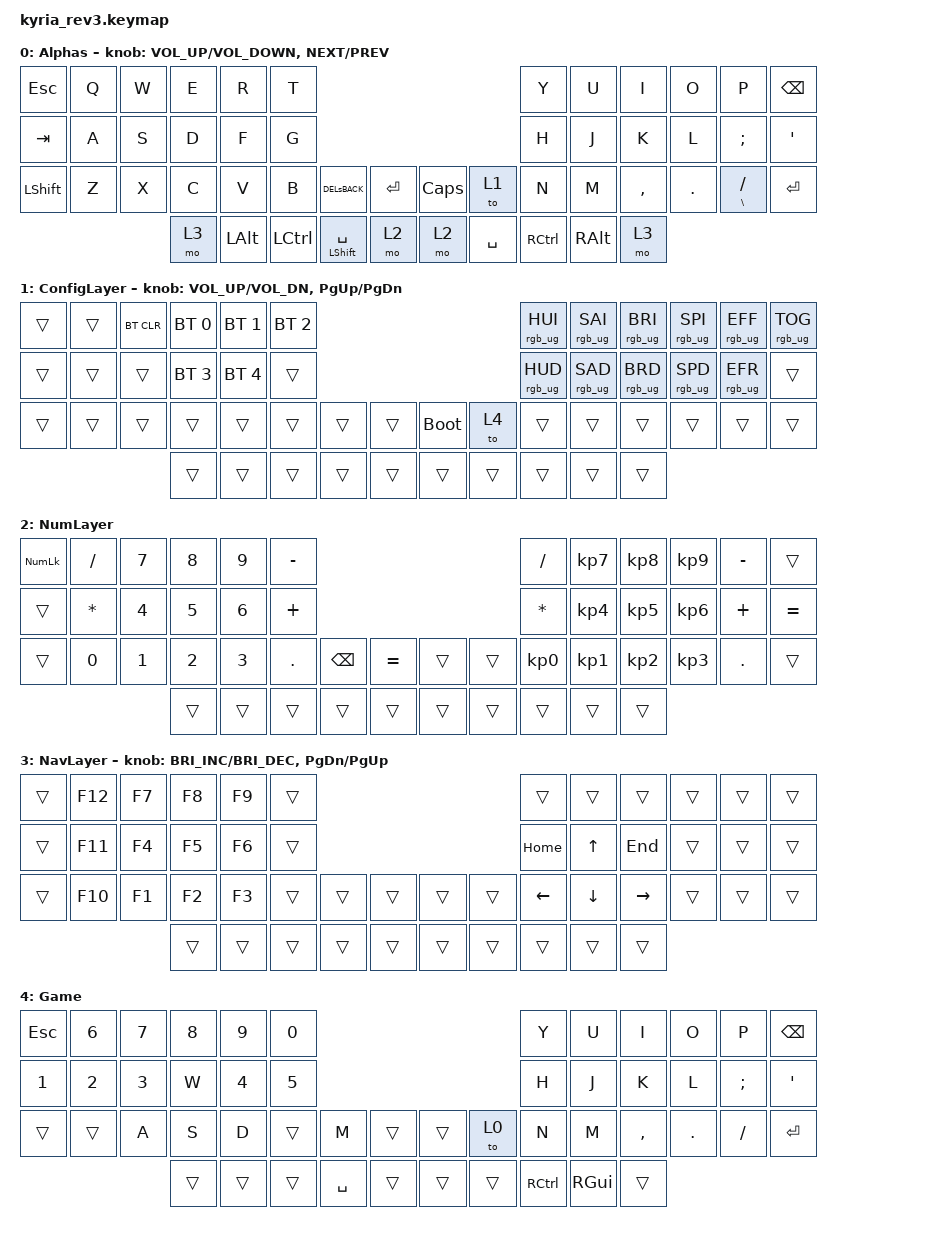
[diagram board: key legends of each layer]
/*
 * Copyright (c) 2023 The ZMK Contributors
 *
 * SPDX-License-Identifier: MIT
 */

#include <behaviors.dtsi>
#include <dt-bindings/zmk/bt.h>
#include <dt-bindings/zmk/ext_power.h>
#include <dt-bindings/zmk/keys.h>
#include <dt-bindings/zmk/rgb.h>

&led_strip {
    chain-length = <31>; // Uncomment if using both per-key and underglow LEDs
};

/ {
    combos {
        compatible = "zmk,combos";

        Lock {
            bindings = <&kp LG(L)>;
            key-positions = <40 49>;
            require-prior-idle-ms = <250>;
        };

        // Alt + Ctrl de cada lado = tecla Windows. Si lo mantienes, funciona como
        // modificador (Win+E, Win+D...).
        WinLeft {
            bindings = <&kp LGUI>;
            key-positions = <41 42>;
            require-prior-idle-ms = <250>;
        };

        WinRight {
            bindings = <&kp LGUI>;
            key-positions = <47 48>;
            require-prior-idle-ms = <250>;
        };

        BT0 {
            bindings = <&bt BT_SEL 0>;
            key-positions = <30 43>;
            require-prior-idle-ms = <250>;
        };

        BT1 {
            bindings = <&bt BT_SEL 1>;
            key-positions = <31 44>;
            require-prior-idle-ms = <250>;
        };

        BT2 {
            bindings = <&bt BT_SEL 2>;
            key-positions = <32 45>;
            require-prior-idle-ms = <250>;
        };

        // Borra TODOS los emparejamientos: solo funciona dentro de ConfigLayer
        BTClear {
            bindings = <&bt BT_CLR_ALL>;
            key-positions = <33 46>;
            require-prior-idle-ms = <250>;
            layers = <1>;
        };

        ParenthesisCOMBO {
            bindings = <&ParenthesisC>;
            key-positions = <7 9>;
            require-prior-idle-ms = <250>;
        };

        BracketCOMBO {
            bindings = <&BracketC>;
            key-positions = <21 19>;
            require-prior-idle-ms = <250>;
        };

        CurlyCOMBO {
            bindings = <&CurlyC>;
            key-positions = <37 35>;
            require-prior-idle-ms = <250>;
        };

        AngleCOMBO {
            bindings = <&AngleC>;
            key-positions = <36 38>;
            require-prior-idle-ms = <250>;
        };

        LParen {
            bindings = <&kp LEFT_PARENTHESIS>;
            key-positions = <7 8>;
            require-prior-idle-ms = <250>;
        };

        RParen {
            bindings = <&kp RIGHT_PARENTHESIS>;
            key-positions = <8 9>;
            require-prior-idle-ms = <250>;
        };

        LBracket {
            bindings = <&kp LEFT_BRACKET>;
            key-positions = <20 19>;
            require-prior-idle-ms = <250>;
        };

        RBracket {
            bindings = <&kp RIGHT_BRACKET>;
            key-positions = <20 21>;
            require-prior-idle-ms = <250>;
        };

        LCurly {
            bindings = <&kp LEFT_BRACE>;
            key-positions = <36 35>;
            require-prior-idle-ms = <250>;
        };

        RCurly {
            bindings = <&kp RIGHT_BRACE>;
            key-positions = <36 37>;
            require-prior-idle-ms = <250>;
        };

        Grave {
            bindings = <&kp GRAVE>;
            key-positions = <0 12>;
            require-prior-idle-ms = <250>;
        };

        Exc {
            bindings = <&kp EXCLAMATION>;
            key-positions = <1 13>;
            require-prior-idle-ms = <250>;
        };

        At {
            bindings = <&kp AT_SIGN>;
            key-positions = <2 14>;
            require-prior-idle-ms = <250>;
        };

        Hash {
            bindings = <&kp HASH>;
            key-positions = <15 3>;
            require-prior-idle-ms = <250>;
        };

        Dollar {
            bindings = <&kp DOLLAR>;
            key-positions = <4 16>;
            require-prior-idle-ms = <250>;
        };

        Percent {
            bindings = <&kp PERCENT>;
            key-positions = <5 17>;
            require-prior-idle-ms = <250>;
        };

        Caret {
            bindings = <&kp CARET>;
            key-positions = <6 18>;
            require-prior-idle-ms = <250>;
        };

        Ampersand {
            bindings = <&kp AMPERSAND>;
            key-positions = <7 19>;
            require-prior-idle-ms = <250>;
        };

        Asterisk {
            bindings = <&kp ASTERISK>;
            key-positions = <20 8>;
            require-prior-idle-ms = <250>;
        };

        HomeShiftEndCombo {
            bindings = <&HomeShiftEnd>;
            key-positions = <18 20>;
            require-prior-idle-ms = <250>;
        };

        PasteClip {
            bindings = <&kp LG(V)>;
            key-positions = <28 16>;
            require-prior-idle-ms = <250>;
        };

        Undo {
            bindings = <&kp LC(Z)>;
            key-positions = <25 26>;
            require-prior-idle-ms = <250>;
        };

        Cut {
            bindings = <&kp LC(X)>;
            key-positions = <26 27>;
            require-prior-idle-ms = <250>;
        };

        Copy {
            bindings = <&kp LC(C)>;
            key-positions = <27 28>;
            require-prior-idle-ms = <250>;
        };

        Paste {
            bindings = <&kp LC(V)>;
            key-positions = <28 29>;
            require-prior-idle-ms = <250>;
        };

        AsteriskSurroundCOMBO {
            bindings = <&AsteriskSurround>;
            key-positions = <19 18>;
            require-prior-idle-ms = <250>;
        };

        LBootLoader {
            bindings = <&bootloader>;
            key-positions = <41 42 43>;
            require-prior-idle-ms = <250>;
        };

        // ESC + Q: vuelve a encender el VCC de la izquierda, que alimenta la mitad
        // derecha por el TRS. Solo usa teclas de la izquierda para funcionar aunque
        // la derecha esté sin corriente.
        PowerOn {
            bindings = <&ext_power EP_ON>;
            key-positions = <0 1>;
            require-prior-idle-ms = <250>;
        };

        Underscore {
            bindings = <&kp UNDER>;
            key-positions = <9 21>;
            require-prior-idle-ms = <250>;
        };

        Minus {
            bindings = <&kp MINUS>;
            key-positions = <10 22>;
            require-prior-idle-ms = <250>;
        };

        cBackspace {
            bindings = <&kp RC(BACKSPACE)>;
            key-positions = <11 23>;
            require-prior-idle-ms = <250>;
        };

        question {
            bindings = <&kp QUESTION>;
            key-positions = <22 38>;
            require-prior-idle-ms = <250>;
        };
    };

    macros {
        ParenthesisC: Parentheses {
            compatible = "zmk,behavior-macro";
            #binding-cells = <0>;
            bindings = <&kp LEFT_PARENTHESIS &kp RIGHT_PARENTHESIS &kp LEFT>;
            label = "PARENTHESES";
        };

        BracketC: BracketC {
            compatible = "zmk,behavior-macro";
            #binding-cells = <0>;
            bindings = <&kp LEFT_BRACKET &kp RIGHT_BRACKET &kp LEFT>;
            label = "BRACKETC";
        };

        CurlyC: CurlyC {
            compatible = "zmk,behavior-macro";
            #binding-cells = <0>;
            bindings = <&kp LS(LEFT_BRACKET) &kp LS(RIGHT_BRACKET) &kp LEFT>;
            label = "CURLYC";
        };

        AngleC: AngleC {
            compatible = "zmk,behavior-macro";
            #binding-cells = <0>;
            bindings = <&kp LS(COMMA) &kp LS(PERIOD) &kp LEFT>;
            label = "ANGLEC";
        };

        HomeShiftEnd: HomeShiftEnd {
            compatible = "zmk,behavior-macro";
            #binding-cells = <0>;
            bindings = <&kp HOME &kp LS(END)>;
            label = "HOMESHIFTEND";
        };

        AsteriskSurround: AsteriskSurround {
            compatible = "zmk,behavior-macro";
            #binding-cells = <0>;
            bindings = <&kp HOME &kp ASTERISK &kp END &kp ASTRK>;
            label = "ASTERISKSURROUND";
        };
    };

    behaviors {
        DELsBACK: DELsBACK {
            compatible = "zmk,behavior-mod-morph";
            label = "DELSBACK";
            bindings = <&kp DELETE>, <&kp BACKSPACE>;

            #binding-cells = <0>;
            mods = <(MOD_LSFT)>;
        };
    };

    sensors {
        left_config { triggers-per-rotation = <36>; };

        right_config { triggers-per-rotation = <6>; };
    };

    keymap {
        compatible = "zmk,keymap";

        Alphas {
            // ---------------------------------------------------------------------------------------------------------------------------------
            // |  ESC  |  Q  |  W  |  E   |  R   |  T   |                                          |  Y   |  U    |  I    |  O   |   P   |   \  |
            // |  TAB  |  A  |  S  |  D   |  F   |  G   |                                          |  H   |  J    |  K    |  L   |   ;   |   '  |
            // | SHIFT |  Z  |  X  |  C   |  V   |  B   | L SHIFT | L SHIFT |  | LAYER 1 | L SHIFT |  N   |  M    |  ,    |  .   |   /   | CTRL |
            //                     | GUI  | DEL  | RET  |  SPACE  |   ESC   |  |   RET   |  SPACE  | TAB  | BSPC  | R-ALT |

            bindings = <
&kp ESC     &kp Q  &kp W  &kp E  &kp R         &kp T                                                                &kp Y              &kp U          &kp I      &kp O    &kp P                &kp BACKSPACE
&kp TAB     &kp A  &kp S  &kp D  &kp F         &kp G                                                                &kp H              &kp J          &kp K      &kp L    &kp SEMICOLON        &kp SQT
&kp LSHIFT  &kp Z  &kp X  &kp C  &kp V         &kp B      &DELsBACK             &kp ENTER  &kp CAPSLOCK  &to 1      &kp N              &kp M          &kp COMMA  &kp DOT  &mt BACKSLASH SLASH  &kp ENTER
                          &mo 3  &kp LEFT_ALT  &kp LCTRL  &mt LEFT_SHIFT SPACE  &mo 2      &mo 2         &kp SPACE  &kp RIGHT_CONTROL  &kp RIGHT_ALT  &mo 3
            >;

            sensor-bindings =
                <&inc_dec_kp C_VOLUME_UP C_VOLUME_DOWN>,
                <&inc_dec_kp C_NEXT C_PREV>;
        };

        ConfigLayer {
            // ---------------------------------------------------------------------------------------------------------------------------------
            // |       |      |BT_CLR|BTSEL0|BTSEL1|BTSEL2|                                         |Hue+ |Sat+ |Brt+ |Spd+ |Eff  |On   |
            // |       |      |      |BTSEL3|BTSEL4|      |                                         |Hue- |Sat- |Brt- |Spd- |Eff- |     |
            // |       |      |      |      |      |      |      |      | BOOT | GAME |      |      |      |      |      |      |
            // BOOT = bootloader de la mitad derecha. La izquierda sigue con el combo 41+42+43.
            // Combo 33+46 en esta capa = BT_CLR_ALL.
            //                       |      |      |      |      |      |      |      |      |      |      |      |      |

            bindings = <
&trans  &trans  &bt BT_CLR  &bt BT_SEL 0  &bt BT_SEL 1  &bt BT_SEL 2                                  &rgb_ug RGB_HUI  &rgb_ug RGB_SAI  &rgb_ug RGB_BRI  &rgb_ug RGB_SPI  &rgb_ug RGB_EFF  &rgb_ug RGB_TOG
&trans  &trans  &trans      &bt BT_SEL 3  &bt BT_SEL 4  &trans                                        &rgb_ug RGB_HUD  &rgb_ug RGB_SAD  &rgb_ug RGB_BRD  &rgb_ug RGB_SPD  &rgb_ug RGB_EFR  &trans
&trans  &trans  &trans      &trans        &trans        &trans        &trans  &trans  &bootloader  &to 4   &trans           &trans           &trans           &trans           &trans           &trans
                            &trans        &trans        &trans        &trans  &trans  &trans  &trans  &trans           &trans           &trans
            >;

            sensor-bindings = <&inc_dec_kp C_VOL_UP C_VOL_DN &inc_dec_kp PG_UP PG_DN>;
        };

        NumLayer {
            // ---------------------------------------------------------------------------------------------------------------------------------
            // |       |      |  7   |  8   |  9   |  -   |                                          |  /   |  7    |  8    |  9    |  -    |      |
            // |       |      |  4   |  5   |  6   |  +   |                                          |  *   |  4    |  5    |  6    |  +    |  =   |
            // |       |      |  1   |  2   |  3   |  .   |                                          | BSPC |  =    |  0    |  1    |  2    |  3    |  .   |
            //                       |      |      |      |  0      |         |  |         |  0      |      |      |      |

            bindings = <
&kp KP_NUMLOCK  &kp SLASH     &kp NUMBER_7  &kp NUMBER_8  &kp NUMBER_9  &kp MINUS                                        &kp SLASH        &kp KP_NUMBER_7  &kp KP_NUMBER_8  &kp KP_NUMBER_9  &kp MINUS   &trans
&trans          &kp ASTERISK  &kp NUMBER_4  &kp NUMBER_5  &kp NUMBER_6  &kp PLUS                                         &kp ASTERISK     &kp KP_NUMBER_4  &kp KP_NUMBER_5  &kp KP_NUMBER_6  &kp PLUS    &kp EQUAL
&trans          &kp NUMBER_0  &kp NUMBER_1  &kp NUMBER_2  &kp NUMBER_3  &kp PERIOD  &kp BSPC  &kp EQUAL  &trans  &trans  &kp KP_NUMBER_0  &kp KP_NUMBER_1  &kp KP_NUMBER_2  &kp KP_NUMBER_3  &kp PERIOD  &trans
                                            &trans        &trans        &trans      &trans    &trans     &trans  &trans  &trans           &trans           &trans
            >;
        };

        NavLayer {
            // ---------------------------------------------------------------------------------------------------------------------------------
            // |       | F12  | F7   | F8   | F9   |      |                                          |      |       |       |       |       |      |
            // |       | F11  | F4   | F5   | F6   |      |                                          | HOME | UP    | END   |       |       |      |
            // |       | F10  | F1   | F2   | F3   |      |                                          | LEFT | DOWN  | RIGHT |       |       |      |
            //                       |      |      |      |         |         |  |         |         |      |      |      |

            bindings = <
&trans  &kp F12  &kp F7  &kp F8  &kp F9  &trans                                  &trans          &trans          &trans           &trans  &trans  &trans
&trans  &kp F11  &kp F4  &kp F5  &kp F6  &trans                                  &kp HOME        &kp UP_ARROW    &kp END          &trans  &trans  &trans
&trans  &kp F10  &kp F1  &kp F2  &kp F3  &trans  &trans  &trans  &trans  &trans  &kp LEFT_ARROW  &kp DOWN_ARROW  &kp RIGHT_ARROW  &trans  &trans  &trans
                         &trans  &trans  &trans  &trans  &trans  &trans  &trans  &trans          &trans          &trans
            >;

            sensor-bindings =
                <&inc_dec_kp C_BRIGHTNESS_INC C_BRIGHTNESS_DEC>,
                <&inc_dec_kp PAGE_DOWN PAGE_UP>;
        };

        Game {
            bindings = <
&kp ESC  &kp N6  &kp N7  &kp N8  &kp N9  &kp N0                                     &kp Y      &kp U     &kp I      &kp O    &kp P     &kp BSPC
&kp N1   &kp N2  &kp N3  &kp W   &kp N4  &kp N5                                     &kp H      &kp J     &kp K      &kp L    &kp SEMI  &kp APOS
&trans   &trans  &kp A   &kp S   &kp D   &trans  &kp M      &trans  &trans  &to 0   &kp N      &kp M     &kp COMMA  &kp DOT  &kp FSLH  &kp ENTER
                         &trans  &trans  &trans  &kp SPACE  &trans  &trans  &trans  &kp RCTRL  &kp RGUI  &trans
            >;
        };
    };
};
